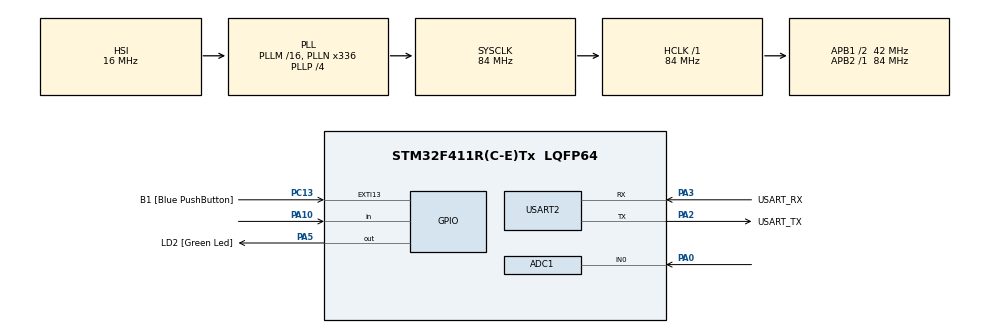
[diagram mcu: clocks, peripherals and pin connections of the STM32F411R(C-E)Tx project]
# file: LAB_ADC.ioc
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ADC1.Channel-0\#ChannelRegularConversion=ADC_CHANNEL_0
ADC1.NbrOfConversionFlag=1
ADC1.Rank-0\#ChannelRegularConversion=1
ADC1.SamplingTime-0\#ChannelRegularConversion=ADC_SAMPLETIME_3CYCLES
ADC1.master=1
Mcu.Family=STM32F4
Mcu.Name=STM32F411R(C-E)Tx
Mcu.Package=LQFP64
NVIC.PriorityGroup=NVIC_PRIORITYGROUP_0
PA0-WKUP.Signal=ADCx_IN0
PA10.Signal=GPIO_Input
PA13.GPIO_Label=TMS
PA13.Mode=Serial_Wire
PA13.Signal=SYS_JTMS-SWDIO
PA14.GPIO_Label=TCK
PA14.Mode=Serial_Wire
PA14.Signal=SYS_JTCK-SWCLK
PA2.GPIO_Label=USART_TX
PA2.Mode=Asynchronous
PA2.Signal=USART2_TX
PA3.GPIO_Label=USART_RX
PA3.Mode=Asynchronous
PA3.Signal=USART2_RX
PA5.GPIO_Label=LD2 [Green Led]
PA5.Signal=GPIO_Output
PB3.GPIO_Label=SWO
PB3.Signal=SYS_JTDO-SWO
PC13-ANTI_TAMP.GPIO_Label=B1 [Blue PushButton]
PC13-ANTI_TAMP.GPIO_ModeDefaultEXTI=GPIO_MODE_IT_FALLING
PC13-ANTI_TAMP.Signal=GPXTI13
PC14-OSC32_IN.Mode=LSE-External-Oscillator
PC14-OSC32_IN.Signal=RCC_OSC32_IN
PC15-OSC32_OUT.Mode=LSE-External-Oscillator
PC15-OSC32_OUT.Signal=RCC_OSC32_OUT
PH0\ -\ OSC_IN.Mode=HSE-External-Clock-Source
PH0\ -\ OSC_IN.Signal=RCC_OSC_IN
PH1\ -\ OSC_OUT.Mode=HSE-External-Clock-Source
PH1\ -\ OSC_OUT.Signal=RCC_OSC_OUT
ProjectManager.HeapSize=0x200
ProjectManager.StackSize=0x400
ProjectManager.TargetToolchain=STM32CubeIDE
RCC.48MHZClocksFreq_Value=84000000
RCC.AHBFreq_Value=84000000
RCC.APB1CLKDivider=RCC_HCLK_DIV2
RCC.APB1Freq_Value=42000000
RCC.APB1TimFreq_Value=84000000
RCC.APB2Freq_Value=84000000
RCC.APB2TimFreq_Value=84000000
RCC.CortexFreq_Value=84000000
RCC.FLatency-AdvancedSettings=FLASH_LATENCY_2
RCC.HCLKFreq_Value=84000000
RCC.HSE_VALUE=8000000
RCC.HSI_VALUE=16000000
RCC.PLLN=336
RCC.PLLP=RCC_PLLP_DIV4
RCC.SYSCLKFreq_VALUE=84000000
RCC.SYSCLKSource=RCC_SYSCLKSOURCE_PLLCLK
RCC.VCOOutputFreq_Value=336000000
SH.ADCx_IN0.0=ADC1_IN0,IN0
USART2.VirtualMode=VM_ASYNC
VP_ADC1_TempSens_Input.Mode=IN-TempSens
board=NUCLEO-F411RE

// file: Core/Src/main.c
/* USER CODE BEGIN Header */
/**
  ******************************************************************************
  * @file           : main.c
  * @brief          : Main program body
  ******************************************************************************
  * @attention
  *
  * <h2><center>&copy; Copyright (c) 2021 STMicroelectronics.
  * All rights reserved.</center></h2>
  *
  * This software component is licensed by ST under BSD 3-Clause license,
  * the "License"; You may not use this file except in compliance with the
  * License. You may obtain a copy of the License at:
  *                        opensource.org/licenses/BSD-3-Clause
  *
  ******************************************************************************
  */
/* USER CODE END Header */
#include "main.h"

ADC_HandleTypeDef hadc1;

UART_HandleTypeDef huart2;

/* USER CODE BEGIN PV */
typedef struct {
	ADC_ChannelConfTypeDef Config;
	uint16_t data;
} ADCStructure;
ADCStructure ADCChannel[2] = { 0 };
uint8_t button=0;
uint8_t buttpre=1;
uint8_t state=0;
double ADCOutputConverted=0;
/* USER CODE END PV */

void SystemClock_Config(void);
static void MX_GPIO_Init(void);
static void MX_USART2_UART_Init(void);
static void MX_ADC1_Init(void);

/* USER CODE BEGIN 0 */
void ADCPollingMethodInit();
void ADCPollingMethodUpdate();
void q();
/* USER CODE END 0 */

int main(void)
{

  /* MCU Configuration--------------------------------------------------------*/

  /* Reset of all peripherals, Initializes the Flash interface and the Systick. */
  HAL_Init();

  /* Configure the system clock */
  SystemClock_Config();

  /* Initialize all configured peripherals */
  MX_GPIO_Init();
  MX_USART2_UART_Init();
  MX_ADC1_Init();
  /* USER CODE BEGIN 2 */
  ADCPollingMethodInit();
  /* USER CODE END 2 */

  /* Infinite loop */
  /* USER CODE BEGIN WHILE */
  while (1)
  {
	ADCPollingMethodUpdate();
	q();
   /* USER CODE END WHILE */

  }
}

void SystemClock_Config(void)
{
  RCC_OscInitTypeDef RCC_OscInitStruct = {0};
  RCC_ClkInitTypeDef RCC_ClkInitStruct = {0};

  /** Configure the main internal regulator output voltage
  */
  __HAL_RCC_PWR_CLK_ENABLE();
  __HAL_PWR_VOLTAGESCALING_CONFIG(PWR_REGULATOR_VOLTAGE_SCALE1);
  /** Initializes the RCC Oscillators according to the specified parameters
  * in the RCC_OscInitTypeDef structure.
  */
  RCC_OscInitStruct.OscillatorType = RCC_OSCILLATORTYPE_HSI;
  RCC_OscInitStruct.HSIState = RCC_HSI_ON;
  RCC_OscInitStruct.HSICalibrationValue = RCC_HSICALIBRATION_DEFAULT;
  RCC_OscInitStruct.PLL.PLLState = RCC_PLL_ON;
  RCC_OscInitStruct.PLL.PLLSource = RCC_PLLSOURCE_HSI;
  RCC_OscInitStruct.PLL.PLLM = 16;
  RCC_OscInitStruct.PLL.PLLN = 336;
  RCC_OscInitStruct.PLL.PLLP = RCC_PLLP_DIV4;
  RCC_OscInitStruct.PLL.PLLQ = 4;
  if (HAL_RCC_OscConfig(&RCC_OscInitStruct) != HAL_OK)
  {
    Error_Handler();
  }
  /** Initializes the CPU, AHB and APB buses clocks
  */
  RCC_ClkInitStruct.ClockType = RCC_CLOCKTYPE_HCLK|RCC_CLOCKTYPE_SYSCLK
                              |RCC_CLOCKTYPE_PCLK1|RCC_CLOCKTYPE_PCLK2;
  RCC_ClkInitStruct.SYSCLKSource = RCC_SYSCLKSOURCE_PLLCLK;
  RCC_ClkInitStruct.AHBCLKDivider = RCC_SYSCLK_DIV1;
  RCC_ClkInitStruct.APB1CLKDivider = RCC_HCLK_DIV2;
  RCC_ClkInitStruct.APB2CLKDivider = RCC_HCLK_DIV1;

  if (HAL_RCC_ClockConfig(&RCC_ClkInitStruct, FLASH_LATENCY_2) != HAL_OK)
  {
    Error_Handler();
  }
}

static void MX_ADC1_Init(void)
{

  ADC_ChannelConfTypeDef sConfig = {0};

  /** Configure the global features of the ADC (Clock, Resolution, Data Alignment and number of conversion)
  */
  hadc1.Instance = ADC1;
  hadc1.Init.ClockPrescaler = ADC_CLOCK_SYNC_PCLK_DIV4;
  hadc1.Init.Resolution = ADC_RESOLUTION_12B;
  hadc1.Init.ScanConvMode = DISABLE;
  hadc1.Init.ContinuousConvMode = DISABLE;
  hadc1.Init.DiscontinuousConvMode = DISABLE;
  hadc1.Init.ExternalTrigConvEdge = ADC_EXTERNALTRIGCONVEDGE_NONE;
  hadc1.Init.ExternalTrigConv = ADC_SOFTWARE_START;
  hadc1.Init.DataAlign = ADC_DATAALIGN_RIGHT;
  hadc1.Init.NbrOfConversion = 1;
  hadc1.Init.DMAContinuousRequests = DISABLE;
  hadc1.Init.EOCSelection = ADC_EOC_SINGLE_CONV;
  if (HAL_ADC_Init(&hadc1) != HAL_OK)
  {
    Error_Handler();
  }
  /** Configure for the selected ADC regular channel its corresponding rank in the sequencer and its sample time.
  */
  sConfig.Channel = ADC_CHANNEL_0;
  sConfig.Rank = 1;
  sConfig.SamplingTime = ADC_SAMPLETIME_3CYCLES;
  if (HAL_ADC_ConfigChannel(&hadc1, &sConfig) != HAL_OK)
  {
    Error_Handler();
  }

}

static void MX_USART2_UART_Init(void)
{

  huart2.Instance = USART2;
  huart2.Init.BaudRate = 115200;
  huart2.Init.WordLength = UART_WORDLENGTH_8B;
  huart2.Init.StopBits = UART_STOPBITS_1;
  huart2.Init.Parity = UART_PARITY_NONE;
  huart2.Init.Mode = UART_MODE_TX_RX;
  huart2.Init.HwFlowCtl = UART_HWCONTROL_NONE;
  huart2.Init.OverSampling = UART_OVERSAMPLING_16;
  if (HAL_UART_Init(&huart2) != HAL_OK)
  {
    Error_Handler();
  }

}

static void MX_GPIO_Init(void)
{
  GPIO_InitTypeDef GPIO_InitStruct = {0};

  /* GPIO Ports Clock Enable */
  __HAL_RCC_GPIOC_CLK_ENABLE();
  __HAL_RCC_GPIOH_CLK_ENABLE();
  __HAL_RCC_GPIOA_CLK_ENABLE();
  __HAL_RCC_GPIOB_CLK_ENABLE();

  /*Configure GPIO pin Output Level */
  HAL_GPIO_WritePin(LD2_GPIO_Port, LD2_Pin, GPIO_PIN_RESET);

  /*Configure GPIO pin : B1_Pin */
  GPIO_InitStruct.Pin = B1_Pin;
  GPIO_InitStruct.Mode = GPIO_MODE_IT_FALLING;
  GPIO_InitStruct.Pull = GPIO_NOPULL;
  HAL_GPIO_Init(B1_GPIO_Port, &GPIO_InitStruct);

  /*Configure GPIO pin : LD2_Pin */
  GPIO_InitStruct.Pin = LD2_Pin;
  GPIO_InitStruct.Mode = GPIO_MODE_OUTPUT_PP;
  GPIO_InitStruct.Pull = GPIO_NOPULL;
  GPIO_InitStruct.Speed = GPIO_SPEED_FREQ_LOW;
  HAL_GPIO_Init(LD2_GPIO_Port, &GPIO_InitStruct);

  /*Configure GPIO pin : PA10 */
  GPIO_InitStruct.Pin = GPIO_PIN_10;
  GPIO_InitStruct.Mode = GPIO_MODE_INPUT;
  GPIO_InitStruct.Pull = GPIO_NOPULL;
  HAL_GPIO_Init(GPIOA, &GPIO_InitStruct);

}

/* USER CODE BEGIN 4 */
void ADCPollingMethodInit() {
	//config all ADC Channel
	ADCChannel[0].Config.Channel = ADC_CHANNEL_0;
	ADCChannel[0].Config.Rank = 1;
	ADCChannel[0].Config.SamplingTime = ADC_SAMPLETIME_3CYCLES;

	ADCChannel[1].Config.Channel = ADC_CHANNEL_TEMPSENSOR;
	ADCChannel[1].Config.Rank = 1;
	ADCChannel[1].Config.SamplingTime = ADC_SAMPLETIME_3CYCLES;

}
//Polling Method
void ADCPollingMethodUpdate() {
	//Read all 3 Channel
	for (int i = 0; i < 2; i++) {
		HAL_ADC_ConfigChannel(&hadc1, &ADCChannel[i].Config);
		HAL_ADC_Start(&hadc1);
		HAL_ADC_PollForConversion(&hadc1, 10);
		ADCChannel[i].data = HAL_ADC_GetValue(&hadc1);
		HAL_ADC_Stop(&hadc1);
	}
}
void q(){
	button=HAL_GPIO_ReadPin(GPIOA, GPIO_PIN_10);
	switch(state){
		case 0:
			ADCOutputConverted=((ADCChannel[0].data*3.3)/4096)*1000;
			if(button==1 && buttpre!=button){
				state=1;
			}
			break;
		case 1:
			ADCOutputConverted=77;
			if(button==1 && buttpre!=button){
				state=0;
			}
			break;

	}

	buttpre=button;
}
/* USER CODE END 4 */

void Error_Handler(void)
{
  __disable_irq();
  while (1)
  {
  }
}

/************************ (C) COPYRIGHT STMicroelectronics *****END OF FILE****/
